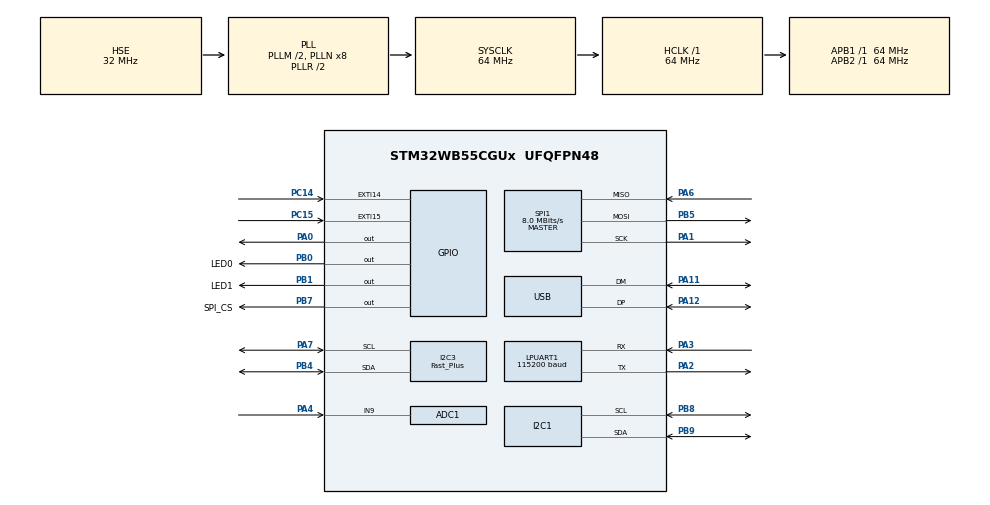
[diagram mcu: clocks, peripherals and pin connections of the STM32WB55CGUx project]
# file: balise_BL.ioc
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ADC1.Channel-0\#ChannelRegularConversion=ADC_CHANNEL_VREFINT
ADC1.Channel-1\#ChannelRegularConversion=ADC_CHANNEL_TEMPSENSOR
ADC1.Channel-2\#ChannelRegularConversion=ADC_CHANNEL_9
ADC1.ContinuousConvMode=ENABLE
ADC1.ExternalTrigConv=ADC_EXTERNALTRIG_T2_TRGO
ADC1.NbrOfConversion=3
ADC1.NbrOfConversionFlag=1
ADC1.OffsetNumber-0\#ChannelRegularConversion=ADC_OFFSET_NONE
ADC1.OffsetNumber-1\#ChannelRegularConversion=ADC_OFFSET_NONE
ADC1.OffsetNumber-2\#ChannelRegularConversion=ADC_OFFSET_NONE
ADC1.Rank-0\#ChannelRegularConversion=1
ADC1.Rank-1\#ChannelRegularConversion=2
ADC1.Rank-2\#ChannelRegularConversion=3
ADC1.SamplingTime-0\#ChannelRegularConversion=ADC_SAMPLETIME_640CYCLES_5
ADC1.SamplingTime-1\#ChannelRegularConversion=ADC_SAMPLETIME_640CYCLES_5
ADC1.SamplingTime-2\#ChannelRegularConversion=ADC_SAMPLETIME_640CYCLES_5
ADC1.master=1
Dma.ADC1.0.Direction=DMA_PERIPH_TO_MEMORY
Dma.ADC1.0.EventEnable=DISABLE
Dma.ADC1.0.Instance=DMA1_Channel1
Dma.ADC1.0.MemDataAlignment=DMA_MDATAALIGN_HALFWORD
Dma.ADC1.0.MemInc=DMA_MINC_ENABLE
Dma.ADC1.0.Mode=DMA_CIRCULAR
Dma.ADC1.0.PeriphDataAlignment=DMA_PDATAALIGN_HALFWORD
Dma.ADC1.0.PeriphInc=DMA_PINC_DISABLE
Dma.ADC1.0.Polarity=HAL_DMAMUX_REQ_GEN_RISING
Dma.ADC1.0.Priority=DMA_PRIORITY_LOW
Dma.ADC1.0.RequestNumber=1
Dma.ADC1.0.SignalID=NONE
Dma.ADC1.0.SyncEnable=DISABLE
Dma.ADC1.0.SyncPolarity=HAL_DMAMUX_SYNC_NO_EVENT
Dma.ADC1.0.SyncRequestNumber=1
Dma.ADC1.0.SyncSignalID=NONE
Dma.LPUART1_RX.1.Direction=DMA_PERIPH_TO_MEMORY
Dma.LPUART1_RX.1.EventEnable=DISABLE
Dma.LPUART1_RX.1.Instance=DMA1_Channel2
Dma.LPUART1_RX.1.MemDataAlignment=DMA_MDATAALIGN_BYTE
Dma.LPUART1_RX.1.MemInc=DMA_MINC_ENABLE
Dma.LPUART1_RX.1.Mode=DMA_CIRCULAR
Dma.LPUART1_RX.1.PeriphDataAlignment=DMA_PDATAALIGN_BYTE
Dma.LPUART1_RX.1.PeriphInc=DMA_PINC_DISABLE
Dma.LPUART1_RX.1.Polarity=HAL_DMAMUX_REQ_GEN_RISING
Dma.LPUART1_RX.1.Priority=DMA_PRIORITY_LOW
Dma.LPUART1_RX.1.RequestNumber=1
Dma.LPUART1_RX.1.SignalID=NONE
Dma.LPUART1_RX.1.SyncEnable=DISABLE
Dma.LPUART1_RX.1.SyncPolarity=HAL_DMAMUX_SYNC_NO_EVENT
Dma.LPUART1_RX.1.SyncRequestNumber=1
Dma.LPUART1_RX.1.SyncSignalID=NONE
Dma.Request0=ADC1
Dma.Request1=LPUART1_RX
I2C1.Timing=0x10B17DB5
I2C3.I2C_Speed_Mode=I2C_Fast_Plus
I2C3.Timing=0x00910B1C
LPUART1.BaudRate=115200
Mcu.Family=STM32WB
Mcu.Name=STM32WB55CGUx
Mcu.Package=UFQFPN48
NVIC.DMA1_Channel1_IRQn=true\:4\:0\:true\:false\:true\:false\:true\:true
NVIC.DMA1_Channel2_IRQn=true\:2\:0\:true\:false\:true\:false\:true\:true
NVIC.EXTI15_10_IRQn=true\:1\:0\:true\:false\:true\:true\:true\:true
NVIC.HSEM_IRQn=true\:0\:0\:false\:false\:true\:false\:true\:true
NVIC.IPCC_C1_RX_IRQn=true\:0\:0\:false\:false\:true\:true\:true\:true
NVIC.IPCC_C1_TX_IRQn=true\:0\:0\:false\:false\:true\:true\:true\:true
NVIC.LPUART1_IRQn=true\:2\:0\:true\:false\:true\:true\:true\:true
NVIC.PriorityGroup=NVIC_PRIORITYGROUP_4
NVIC.RTC_WKUP_IRQn=true\:0\:0\:false\:false\:true\:true\:true\:true
NVIC.SPI1_IRQn=true\:3\:0\:true\:false\:true\:true\:true\:true
NVIC.TIM1_TRG_COM_TIM17_IRQn=true\:2\:0\:true\:false\:true\:true\:true\:true
NVIC.TIM1_UP_TIM16_IRQn=true\:4\:0\:true\:false\:true\:true\:true\:true
NVIC.USB_LP_IRQn=true\:5\:0\:true\:false\:true\:false\:true\:true
NimaLTD.I-CUBE-SPIF.2.3.2.DriverJjSPIF=true
NimaLTD.I-CUBE-SPIF.2.3.2.SPIF_PLATFORM=SPIF_PLATFORM_HAL
OSC_IN.Mode=HSE-External-Oscillator
OSC_IN.Signal=RCC_OSC_IN
OSC_OUT.Mode=HSE-External-Oscillator
OSC_OUT.Signal=RCC_OSC_OUT
PA0.Signal=GPIO_Output
PA1.Mode=Full_Duplex_Master
PA1.Signal=SPI1_SCK
PA11.Mode=Device
PA11.Signal=USB_DM
PA12.Mode=Device
PA12.Signal=USB_DP
PA13.Mode=Trace_Asynchronous_SW
PA13.Signal=SYS_JTMS-SWDIO
PA14.Mode=Trace_Asynchronous_SW
PA14.Signal=SYS_JTCK-SWCLK
PA2.Mode=Asynchronous
PA2.Signal=LPUART1_TX
PA3.Mode=Asynchronous
PA3.Signal=LPUART1_RX
PA4.Signal=ADCx_IN9
PA6.Mode=Full_Duplex_Master
PA6.Signal=SPI1_MISO
PA7.Mode=I2C
PA7.Signal=I2C3_SCL
PB0.GPIO_Label=LED0
PB0.Signal=GPIO_Output
PB1.GPIO_Label=LED1
PB1.Signal=GPIO_Output
PB3.Mode=Trace_Asynchronous_SW
PB3.Signal=SYS_JTDO-SWO
PB4.Mode=I2C
PB4.Signal=I2C3_SDA
PB5.Mode=Full_Duplex_Master
PB5.Signal=SPI1_MOSI
PB7.GPIO_Label=SPI_CS
PB7.Signal=GPIO_Output
PB8.Mode=I2C
PB8.Signal=I2C1_SCL
PB9.Mode=I2C
PB9.Signal=I2C1_SDA
PC14-OSC32_IN.GPIO_ModeDefaultEXTI=GPIO_MODE_IT_RISING_FALLING
PC14-OSC32_IN.Signal=GPXTI14
PC15-OSC32_OUT.GPIO_ModeDefaultEXTI=GPIO_MODE_IT_RISING_FALLING
PC15-OSC32_OUT.Signal=GPXTI15
ProjectManager.HeapSize=0x200
ProjectManager.StackSize=0x400
ProjectManager.TargetToolchain=STM32CubeIDE
RCC.ADCFreq_Value=48000000
RCC.AHB2CLKDivider=RCC_SYSCLK_DIV2
RCC.AHBFreq_Value=64000000
RCC.APB1Freq_Value=64000000
RCC.APB1TimFreq_Value=64000000
RCC.APB2Freq_Value=64000000
RCC.APB2TimFreq_Value=64000000
RCC.APB3Freq_Value=16000000
RCC.CortexFreq_Value=64000000
RCC.HCLKFreq_Value=64000000
RCC.HSE_VALUE=32000000
RCC.HSI48_VALUE=48000000
RCC.HSI_VALUE=16000000
RCC.LPUART1CLockSelection=RCC_LPUART1CLKSOURCE_HSI
RCC.LSE_VALUE=32768
RCC.MSIClockRange=RCC_MSIRANGE_10
RCC.PLLM=RCC_PLLM_DIV2
RCC.PLLSAI1N=6
RCC.PLLSourceVirtual=RCC_PLLSOURCE_HSE
RCC.RTCClockSelection=RCC_RTCCLKSOURCE_HSE_DIV32
RCC.SMPSCLockSelection=RCC_SMPSCLKSOURCE_HSE
RCC.SYSCLKFreq_VALUE=64000000
RCC.SYSCLKSource=RCC_SYSCLKSOURCE_PLLCLK
RCC.USBFreq_Value=48000000
RCC.VCOOutputFreq_Value=128000000
RTC.WakeUpClock-WakeUp=RTC_WAKEUPCLOCK_CK_SPRE_16BITS
SH.ADCx_IN9.0=ADC1_IN9,IN9-Single-Ended
SPI1.BaudRatePrescaler=SPI_BAUDRATEPRESCALER_8
SPI1.CalculateBaudRate=8.0 MBits/s
SPI1.DataSize=SPI_DATASIZE_8BIT
SPI1.Direction=SPI_DIRECTION_2LINES
SPI1.Mode=SPI_MODE_MASTER
SPI1.VirtualType=VM_MASTER
TIM16.Period=1000-1
TIM16.Prescaler=64000-1
TIM17.Period=200-1
TIM17.Prescaler=64000-1
TIM2.Period=1000-1
TIM2.Prescaler=6400-1
TIM2.TIM_MasterOutputTrigger=TIM_TRGO_UPDATE
USB_DEVICE.CLASS_NAME_FS=CDC
USB_DEVICE.VirtualMode=Cdc
USB_DEVICE.VirtualModeFS=Cdc_FS
VP_ADC1_TempSens_Input.Mode=IN-TempSens
VP_ADC1_Vref_Input.Mode=IN-Vrefint
VP_HSEM_VS_HSEM.Mode=HSEM_Activate
VP_IPCC_VS_IPCC.Mode=IPCC_Activate
VP_MEMORYMAP_VS_MEMORYMAP.Mode=CurAppReg
VP_NimaLTD.I-CUBE-SPIF_VS_DriverJjSPIF_1.0.0_2.3.2.Mode=DriverJjSPIF
VP_RTC_VS_RTC_Activate.Mode=RTC_Enabled
VP_RTC_VS_RTC_Calendar.Mode=RTC_Calendar
VP_RTC_VS_RTC_WakeUp_intern.Mode=WakeUp
VP_TIM16_VS_ClockSourceINT.Mode=Enable_Timer
VP_TIM17_VS_ClockSourceINT.Mode=Enable_Timer
VP_TIM2_VS_ClockSourceINT.Mode=Internal
VP_USB_DEVICE_VS_USB_DEVICE_CDC_FS.Mode=CDC_FS
board=custom

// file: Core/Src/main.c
/* USER CODE BEGIN Header */
/**
  ******************************************************************************
  * @file           : main.c
  * @brief          : Main program body
  ******************************************************************************
  * @attention
  *
  * Copyright (c) 2024 STMicroelectronics.
  * All rights reserved.
  *
  * This software is licensed under terms that can be found in the LICENSE file
  * in the root directory of this software component.
  * If no LICENSE file comes with this software, it is provided AS-IS.
  *
  ******************************************************************************
  */
/* USER CODE END Header */
#include "main.h"
#include "adc.h"
#include "dma.h"
#include "i2c.h"
#include "ipcc.h"
#include "usart.h"
#include "memorymap.h"
#include "rtc.h"
#include "spi.h"
#include "tim.h"
#include "usb_device.h"
#include "gpio.h"

/* USER CODE BEGIN Includes */
#include "math.h"
#include "ssd1306.h"
#include "statemachine.h"
#include "nmea_parse.h"
#include "stm32wbxx_hal.h"
#include "spif.h"
#include "tarvos.h"
#include "bmp581.h"
#include "pulse_oximeter.h"
/* USER CODE END Includes */

/* USER CODE BEGIN PV */
STATE_TYPE state=STATE_SPEED;
SPEED spdstate=STATE_GROS;
POS posstate=STATE_SUMMARY1;
CHRONO chronostate=STATE_RESET;
USBSTATE usbstate=USBSTATE1;
BALISESTATE balisestate=BALISESTATE1;
SETTINGSTATE settingstate=CURRENTSETTING;

uint16_t oldPos = 0;
uint16_t newPos = 0;
uint16_t TarvosRXbufferoldpos;
uint16_t TarvosRXbuffernewpos;
uint8_t RxBuffer[RxBuffer_SIZE];
uint8_t DataBuffer[DataBuffer_SIZE];
uint8_t tarvos_RX_Buffer[TarvosRxBufferSize];
uint8_t tarvos_RX_Tampon[TarvosRxTamponSize];
GPS myData;
int BTN_A=0;
int BTN_B=0;

SPIF_HandleTypeDef hspif1;
extern SPI_HandleTypeDef hspi1;
extern TIM_HandleTypeDef htim16;
extern TIM_HandleTypeDef htim17;

uint16_t rawdata[3];
float temp=0.0;
float vrefint=0;
float vbat=0;

uint8_t flashwrite[256];
uint8_t flashread[256];
extern uint8_t indexbuffer[50];
int pageoffset=0;
int pagenumber=0;
int sectoreraseen=0;
uint8_t numbuf1[10];
uint8_t numbuf2[10];
uint8_t bufferscreen[50];
uint8_t longbufferscreen[256];
uint8_t usbbuffer[64];
uint16_t offsetforscroltext=0;
uint16_t scrolltextmax=0;

float vitmax=0.0;
float seconde=0;
float min=0;

uint32_t starttime=0;
uint32_t calctime=0;
uint32_t timehandler=0;
float t1=0;
float t2=0;
float t3=0;
float moy=0;
float framerate=0;
int flashbufferlen=0;

int erasetime=0;
int erasedisplay=0;
int usbtransmiten=0;
float usbpercent=0;

int doubledonnee=0;
int cptdoubledonnee=0;
double distanceparcouru=0;
double oldlat=0;
double oldlong=0;

int32_t baropress=0;
int16_t barotemp=0;
int baroenableinit=0;
float altibaro=0;

int enablewrite=0;

double distance1sec=0;

uint8_t SEC=0;
uint8_t HR=0;
uint8_t MINUTE=0;
uint8_t JOURS=10;
uint8_t MOIS=11;
uint16_t ANNEE=2024;
MOIS_STATE mois=JANVIER;
int settimeen=0;

int boutonAtime=0;
int boutonBtime=0;
int tbtn1=0;
int tbtn2=0;
int BTN_B_LONG=0;
int BTN_A_LONG=0;

int bluetoothsend=0;
uint8_t blereceivebuf[256];
uint8_t bletransmitbuf[256];
uint8_t receivedtrame[64];

ECRANBALISESTATE ecranstate=ECRANBALISESTATE1;

BMP_t * bmp581;

int flash_CNT_VALUE=0;
int BlueLED_CNT_VALUE=0;

const unsigned char startimg[] = {
0x00, 0x00, 0x00, 0x00, 0x00, 0x00, 0x00, 0x00,
0x7f, 0xff, 0xff, 0xff, 0xff, 0xff, 0xff, 0xfe,
0x7f, 0xff, 0xff, 0xff, 0xff, 0xff, 0xfe, 0x3e,
0x7f, 0xff, 0xff, 0xff, 0xff, 0xff, 0xf9, 0xce,
0x7f, 0xff, 0xff, 0xff, 0xff, 0xff, 0xfa, 0x2e,
0x7f, 0xfc, 0x1f, 0xff, 0xff, 0xff, 0xf6, 0xb6,
0x7f, 0xf0, 0x07, 0xff, 0xff, 0xff, 0xf6, 0x76,
0x7f, 0xc0, 0x01, 0xff, 0xff, 0xff, 0xfa, 0xae,
0x7f, 0x80, 0x00, 0xff, 0xff, 0xff, 0xf9, 0xce,
0x7f, 0x81, 0xc0, 0xff, 0xff, 0xff, 0xfe, 0x3e,
0x7f, 0x03, 0xe0, 0x7f, 0xff, 0xff, 0xff, 0xfe,
0x7f, 0x07, 0xf0, 0x7f, 0x0f, 0x03, 0xf0, 0x3e,
0x7f, 0x07, 0xf0, 0x7f, 0x0f, 0x03, 0xf0, 0x3e,
0x7f, 0x07, 0xf0, 0x7c, 0xff, 0x3c, 0xcf, 0xfe,
0x7f, 0x03, 0xe0, 0x7c, 0xff, 0x3c, 0xcf, 0xfe,
0x7f, 0x01, 0xc0, 0x7c, 0xc3, 0x03, 0xf0, 0xfe,
0x7f, 0x80, 0x00, 0xfc, 0xc3, 0x03, 0xf0, 0xfe,
0x7f, 0x80, 0x00, 0xfc, 0xf3, 0x3f, 0xff, 0x3e,
0x7f, 0xc0, 0x01, 0xfc, 0xf3, 0x3f, 0xff, 0x3e,
0x7f, 0xc0, 0x01, 0xff, 0x0f, 0x3f, 0xc0, 0xfe,
0x7f, 0xe0, 0x03, 0xff, 0x0f, 0x3f, 0xc0, 0xfe,
0x7f, 0xe0, 0x07, 0xff, 0xff, 0xff, 0xff, 0xfe,
0x7f, 0xf0, 0x07, 0xff, 0xff, 0xff, 0xff, 0xfe,
0x7f, 0xf0, 0x0f, 0xff, 0xff, 0x76, 0xfe, 0x7e,
0x7f, 0xf8, 0x0f, 0xff, 0xff, 0x74, 0xfd, 0xbe,
0x7f, 0xf8, 0x1f, 0xff, 0xff, 0xae, 0xfd, 0xbe,
0x7f, 0xfc, 0x1f, 0xff, 0xff, 0xae, 0xfd, 0xbe,
0x7f, 0xfc, 0x3f, 0xff, 0xff, 0xdc, 0x6e, 0x7e,
0x7f, 0xfe, 0x3f, 0xff, 0xff, 0xff, 0xff, 0xfe,
0x7f, 0xff, 0xff, 0xff, 0xff, 0xff, 0xff, 0xfe,
0x7f, 0xff, 0xff, 0xff, 0xff, 0xff, 0xff, 0xfe,
0x00, 0x00, 0x00, 0x00, 0x00, 0x00, 0x00, 0x00,
};

/* USER CODE END PV */

void SystemClock_Config(void);
void PeriphCommonClock_Config(void);

/* USER CODE BEGIN 0 */
void HAL_GPIO_EXTI_Callback(uint16_t GPIO_Pin)//lors d'un appuie sur un bouton, le systeme s'interrompt afin d'arriver dans cette fonction redefinie avec en parametre d'entre , le bouton sur lequel l'on a appuiyé
{
	if(GPIO_Pin==GPIO_PIN_14){

		if(HAL_GPIO_ReadPin(GPIOC,GPIO_PIN_14)== GPIO_PIN_RESET){

					boutonAtime=0;
					tbtn1=HAL_GetTick();

				}
				else{
					BTN_A++;

					boutonAtime=HAL_GetTick()-tbtn1;
					tbtn1=0;

				}

				if(boutonAtime>=400){
					BTN_A_LONG++;
					BTN_A=0;
				}

	}
	if(GPIO_Pin==GPIO_PIN_15){

		if(HAL_GPIO_ReadPin(GPIOC,GPIO_PIN_15)== GPIO_PIN_RESET){

			boutonBtime=0;
			tbtn2=HAL_GetTick();

		}
		else{
			BTN_B++;

			boutonBtime=HAL_GetTick()-tbtn2;
			tbtn2=0;

		}

		if(boutonBtime>=400){
			BTN_B_LONG++;
			BTN_B=0;
		}

	}
}
/* USER CODE END 0 */

int main(void)
{

  /* MCU Configuration--------------------------------------------------------*/

  /* Reset of all peripherals, Initializes the Flash interface and the Systick. */
  HAL_Init();

  /* USER CODE BEGIN Init */

  GPIO_InitTypeDef GPIO_InitStruct = {0};
  void (*boot_jump)(void);

  __HAL_RCC_GPIOC_CLK_ENABLE();
   GPIO_InitStruct.Pin = GPIO_PIN_15|GPIO_PIN_14;
   GPIO_InitStruct.Mode = GPIO_MODE_INPUT;
   GPIO_InitStruct.Pull = GPIO_NOPULL;
   HAL_GPIO_Init(GPIOC, &GPIO_InitStruct);
   /* If both Select and Reset button held down at boot time, then immediately
    * jump to DFU bootloader, rather than start the Snickerdoodle application.
    */
   if ((HAL_GPIO_ReadPin(GPIOC, GPIO_PIN_14) == GPIO_PIN_RESET) &&
 	  (HAL_GPIO_ReadPin(GPIOC, GPIO_PIN_15) == GPIO_PIN_RESET))
   {
 	  HAL_DeInit();
 	  boot_jump = (void (*)(void))(*((uint32_t *)(SYS_MEM_START_ADDR + 4)));
 	  __set_MSP(*(__IO uint32_t*)SYS_MEM_START_ADDR);

 	  /* NOTE WELL: This call never returns: */
 	  boot_jump();
   }

  /* USER CODE END Init */

  /* Configure the system clock */
  SystemClock_Config();

  /* Configure the peripherals common clocks */
  PeriphCommonClock_Config();

  /* IPCC initialisation */
  MX_IPCC_Init();

  /* Initialize all configured peripherals */
  MX_GPIO_Init();
  MX_DMA_Init();
  MX_ADC1_Init();
  MX_I2C1_Init();
  MX_I2C3_Init();
  MX_LPUART1_UART_Init();
  MX_TIM2_Init();
  MX_TIM16_Init();
  MX_TIM17_Init();
  MX_SPI1_Init();
  MX_USB_Device_Init();
  MX_RTC_Init();
  /* USER CODE BEGIN 2 */

  	ssd1306_Init();

  	HAL_Delay(10);
  	ssd1306_Fill(Black);

  	ssd1306_DrawBitmap(32, 32, startimg, 64, 32, White);
  	ssd1306_UpdateScreen();

  	HAL_ADC_Start_DMA(&hadc1,(uint32_t*)rawdata, 3);
  	HAL_TIM_Base_Start(&htim2);
  	HAL_TIM_Base_Start_IT(&htim16);
  	//HAL_TIM_Base_Start_IT(&htim17);

  	HAL_GPIO_WritePin(GPIOA,GPIO_PIN_0,GPIO_PIN_SET);

  	HAL_Delay(100);
  	HAL_UART_Abort(&hlpuart1);
  	HAL_UART_Receive_DMA(&hlpuart1, (uint8_t *)RxBuffer, RxBuffer_SIZE);

  	memset(flashread,'1',256);
  	memset(flashwrite,'\0',256);
  	memset((uint8_t *)bufferscreen ,'\0',50);

  	SPIF_Init(&hspif1, &hspi1, GPIOB, GPIO_PIN_7);
  	getindex();

  	ssd1306_Fill(Black);

  	bmp581->i2c=&hi2c1;
  	bmp581->addr=0x47;

  	if(bmp581_init_precise_normal(&bmp581)!=0){
  		ssd1306_SetCursor(32,42);
  		ssd1306_WriteString("bmp prbm", Font_7x10, White);
  		ssd1306_UpdateScreen();
  		HAL_Delay(1000);

  	}

  	state=STATE_SPEED;
  	BTN_A=0;
  	BTN_A_LONG=0;

  	HAL_Delay(500);

  	//LL_HSEM_1StepLock( HSEM, 5 );
  /* USER CODE END 2 */

  /* Infinite loop */
  while (1)
  {

    /* USER CODE BEGIN 3 */
	  statemachine();
	  ssd1306_UpdateScreen();
  }
  /* USER CODE END 3 */
}

void SystemClock_Config(void)
{
  RCC_OscInitTypeDef RCC_OscInitStruct = {0};
  RCC_ClkInitTypeDef RCC_ClkInitStruct = {0};

  /** Configure the main internal regulator output voltage
  */
  __HAL_PWR_VOLTAGESCALING_CONFIG(PWR_REGULATOR_VOLTAGE_SCALE1);

  /** Initializes the RCC Oscillators according to the specified parameters
  * in the RCC_OscInitTypeDef structure.
  */
  RCC_OscInitStruct.OscillatorType = RCC_OSCILLATORTYPE_HSI|RCC_OSCILLATORTYPE_HSE;
  RCC_OscInitStruct.HSEState = RCC_HSE_ON;
  RCC_OscInitStruct.HSIState = RCC_HSI_ON;
  RCC_OscInitStruct.HSICalibrationValue = RCC_HSICALIBRATION_DEFAULT;
  RCC_OscInitStruct.PLL.PLLState = RCC_PLL_ON;
  RCC_OscInitStruct.PLL.PLLSource = RCC_PLLSOURCE_HSE;
  RCC_OscInitStruct.PLL.PLLM = RCC_PLLM_DIV2;
  RCC_OscInitStruct.PLL.PLLN = 8;
  RCC_OscInitStruct.PLL.PLLP = RCC_PLLP_DIV2;
  RCC_OscInitStruct.PLL.PLLR = RCC_PLLR_DIV2;
  RCC_OscInitStruct.PLL.PLLQ = RCC_PLLQ_DIV2;
  if (HAL_RCC_OscConfig(&RCC_OscInitStruct) != HAL_OK)
  {
    Error_Handler();
  }

  /** Configure the SYSCLKSource, HCLK, PCLK1 and PCLK2 clocks dividers
  */
  RCC_ClkInitStruct.ClockType = RCC_CLOCKTYPE_HCLK4|RCC_CLOCKTYPE_HCLK2
                              |RCC_CLOCKTYPE_HCLK|RCC_CLOCKTYPE_SYSCLK
                              |RCC_CLOCKTYPE_PCLK1|RCC_CLOCKTYPE_PCLK2;
  RCC_ClkInitStruct.SYSCLKSource = RCC_SYSCLKSOURCE_PLLCLK;
  RCC_ClkInitStruct.AHBCLKDivider = RCC_SYSCLK_DIV1;
  RCC_ClkInitStruct.APB1CLKDivider = RCC_HCLK_DIV1;
  RCC_ClkInitStruct.APB2CLKDivider = RCC_HCLK_DIV1;
  RCC_ClkInitStruct.AHBCLK2Divider = RCC_SYSCLK_DIV2;
  RCC_ClkInitStruct.AHBCLK4Divider = RCC_SYSCLK_DIV1;

  if (HAL_RCC_ClockConfig(&RCC_ClkInitStruct, FLASH_LATENCY_3) != HAL_OK)
  {
    Error_Handler();
  }
}

void PeriphCommonClock_Config(void)
{
  RCC_PeriphCLKInitTypeDef PeriphClkInitStruct = {0};

  /** Initializes the peripherals clock
  */
  PeriphClkInitStruct.PeriphClockSelection = RCC_PERIPHCLK_SMPS|RCC_PERIPHCLK_USB
                              |RCC_PERIPHCLK_ADC;
  PeriphClkInitStruct.PLLSAI1.PLLN = 6;
  PeriphClkInitStruct.PLLSAI1.PLLP = RCC_PLLP_DIV2;
  PeriphClkInitStruct.PLLSAI1.PLLQ = RCC_PLLQ_DIV2;
  PeriphClkInitStruct.PLLSAI1.PLLR = RCC_PLLR_DIV2;
  PeriphClkInitStruct.PLLSAI1.PLLSAI1ClockOut = RCC_PLLSAI1_USBCLK|RCC_PLLSAI1_ADCCLK;
  PeriphClkInitStruct.UsbClockSelection = RCC_USBCLKSOURCE_PLLSAI1;
  PeriphClkInitStruct.AdcClockSelection = RCC_ADCCLKSOURCE_PLLSAI1;
  PeriphClkInitStruct.SmpsClockSelection = RCC_SMPSCLKSOURCE_HSI;
  PeriphClkInitStruct.SmpsDivSelection = RCC_SMPSCLKDIV_RANGE1;

  if (HAL_RCCEx_PeriphCLKConfig(&PeriphClkInitStruct) != HAL_OK)
  {
    Error_Handler();
  }
  /* USER CODE BEGIN Smps */
  //LL_HSEM_1StepLock( HSEM, 5 );

  /* USER CODE END Smps */
}

void Error_Handler(void)
{
  __disable_irq();
  while (1)
  {
  }
}
